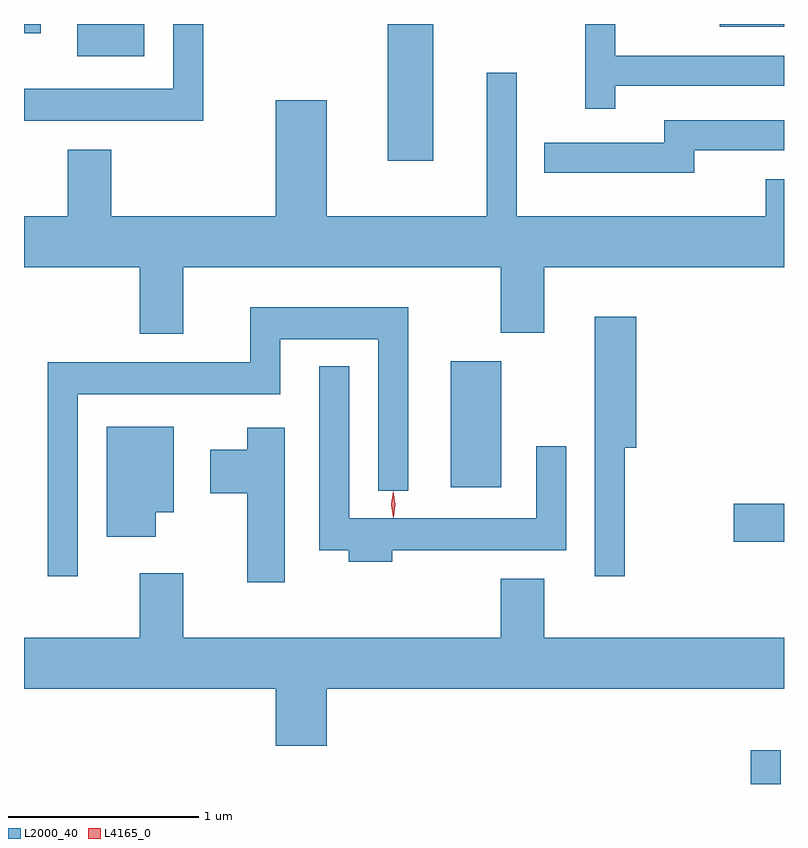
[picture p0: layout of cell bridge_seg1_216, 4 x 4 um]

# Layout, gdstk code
import gdstk
lib = gdstk.Library(unit=1e-6, precision=1e-09)
def R(c, l, rs):  # rectangles x0, y0, x1, y1
    for r in rs: c.add(gdstk.rectangle(r[:2], r[2:], *l))
def P(c, l, *ps):  # polygons
    for p in ps: c.add(gdstk.Polygon(p, *l))
L2000_40 = (2000, 40)
L4165_0 = (4165, 0)

bridge_seg1_216 = lib.new_cell('bridge_seg1_216')
R(bridge_seg1_216, L2000_40, [(836.956,881.315,837.114,881.493), (836.866,882.591,837.131,882.789), (835.376,882.876,835.644,883.539), (835.046,884.596,835.284,885.315), (833.411,885.146,833.764,885.315), (833.131,885.266,833.219,885.315), (836.793,885.301,837.131,885.315)])
P(bridge_seg1_216, L2000_40, [(836.244,884.991),(837.131,884.991),(837.131,885.149),(836.244,885.149),(836.244,885.315),(836.086,885.315),(836.086,884.868),(836.244,884.868)],
  [(834.074,885.315),(833.916,885.315),(833.916,884.974),(833.131,884.974),(833.131,884.806),(834.074,884.806)],
  [(833.969,884.036),(835.641,884.036),(835.641,883.691),(835.869,883.691),(835.869,884.036),(837.131,884.036),(837.131,884.499),(837.036,884.499),(837.036,884.304),(835.724,884.304),(835.724,885.058),(835.566,885.058),(835.566,884.304),(834.724,884.304),(834.724,884.914),(834.456,884.914),(834.456,884.304),(833.589,884.304),(833.589,884.654),(833.361,884.654),(833.361,884.304),(833.131,884.304),(833.131,884.036),(833.741,884.036),(833.741,883.686),(833.969,883.686)],
  [(836.659,884.651),(837.131,884.651),(837.131,884.809),(836.501,884.809),(836.501,884.689),(835.868,884.689),(835.868,884.531),(836.659,884.531)],
  [(833.414,883.366),(834.479,883.366),(834.479,883.656),(834.996,883.656),(834.996,882.858),(835.154,882.858),(835.154,883.824),(834.321,883.824),(834.321,883.534),(833.256,883.534),(833.256,882.408),(833.414,882.408)],
  [(836.294,883.086),(836.354,883.086),(836.354,883.774),(836.136,883.774),(836.136,882.408),(836.294,882.408)],
  [(835.069,882.546),(835.984,882.546),(835.984,883.093),(835.826,883.093),(835.826,882.714),(834.844,882.714),(834.844,883.513),(834.686,883.513),(834.686,882.546),(834.841,882.546),(834.841,882.486),(835.069,882.486)],
  [(833.824,882.746),(833.919,882.746),(833.919,883.194),(833.566,883.194),(833.566,882.616),(833.824,882.616)],
  [(834.504,883.189),(834.306,883.189),(834.306,883.074),(834.111,883.074),(834.111,882.846),(834.306,882.846),(834.306,882.376),(834.504,882.376)],
  [(834.724,881.816),(837.131,881.816),(837.131,882.084),(835.869,882.084),(835.869,882.394),(835.641,882.394),(835.641,882.084),(833.969,882.084),(833.969,882.424),(833.741,882.424),(833.741,882.084),(833.131,882.084),(833.131,881.816),(834.456,881.816),(834.456,881.516),(834.724,881.516)])
P(bridge_seg1_216, L4165_0, [(835.075,882.719),(835.075,882.72),(835.065,882.786),(835.074,882.852),(835.075,882.853),(835.075,882.852),(835.085,882.786),(835.076,882.72)],
  [(835.074,882.717),(835.065,882.787),(835.074,882.856),(835.075,882.856),(835.075,882.856),(835.085,882.787),(835.075,882.717),(835.075,882.717)])

lib.write_gds('bridge_seg1_216.gds')
